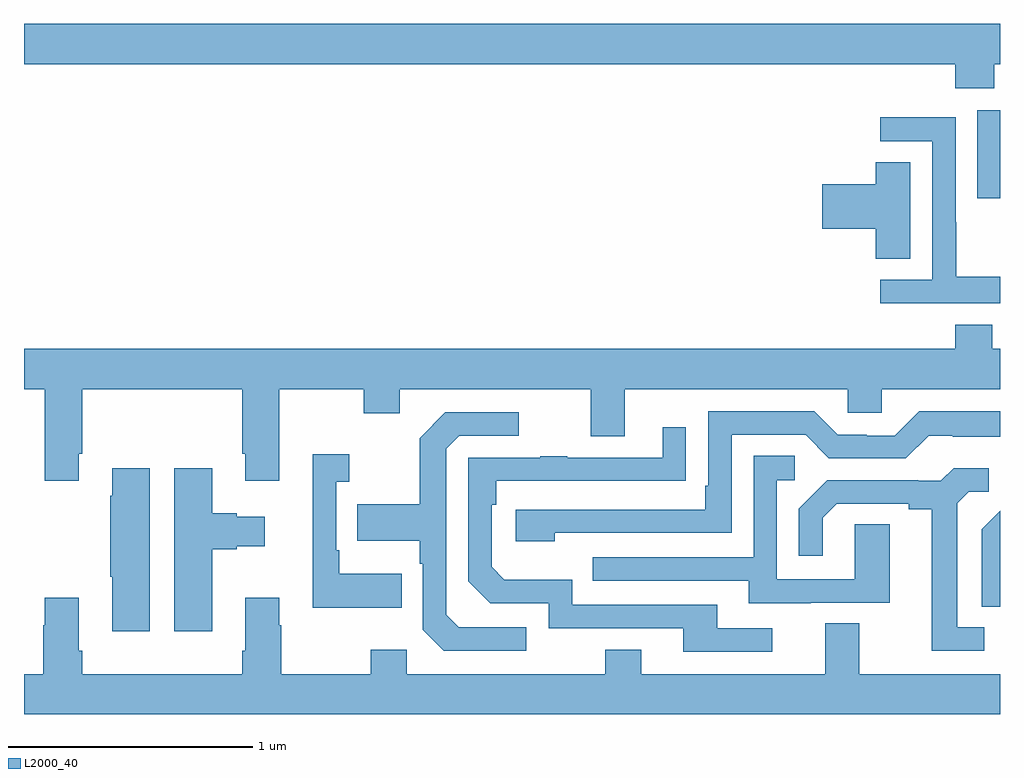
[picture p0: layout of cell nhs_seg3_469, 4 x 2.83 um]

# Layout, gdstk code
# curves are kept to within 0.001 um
import gdstk
lib = gdstk.Library(unit=1e-6, precision=1e-09)
def R(c, l, rs):  # rectangles x0, y0, x1, y1
    for r in rs: c.add(gdstk.rectangle(r[:2], r[2:], *l))
def P(c, l, *ps):  # polygons
    for p in ps: c.add(gdstk.Polygon(p, *l))
L2000_40 = (2000, 40)

nhs_seg3_469 = lib.new_cell('nhs_seg3_469')
R(nhs_seg3_469, L2000_40, [(136.907,746.985,137,747.346)])
P(nhs_seg3_469, L2000_40, [(136.977,747.536),(137,747.536),(137,747.7),(133,747.7),(133,747.536),(136.817,747.536),(136.817,747.437),(136.977,747.437)],
  [(137,746.665),(136.821,746.665),(136.821,746.888),(136.818,746.888),(136.818,747.318),(136.509,747.318),(136.509,747.219),(136.722,747.219),(136.722,746.652),(136.509,746.652),(136.509,746.556),(137,746.556)],
  [(136.633,747.134),(136.49,747.134),(136.49,747.044),(136.272,747.044),(136.272,746.861),(136.49,746.861),(136.49,746.737),(136.633,746.737)],
  [(133.225,745.939),(133.238,745.939),(133.238,746.204),(133.895,746.204),(133.895,745.939),(133.907,745.939),(133.907,745.827),(134.047,745.827),(134.047,746.204),(134.392,746.204),(134.392,746.105),(134.539,746.105),(134.539,746.204),(135.323,746.204),(135.323,746.01),(135.463,746.01),(135.463,746.204),(136.377,746.204),(136.377,746.106),(136.515,746.106),(136.515,746.204),(137,746.204),(137,746.368),(136.969,746.368),(136.969,746.467),(136.817,746.467),(136.817,746.368),(133,746.368),(133,746.204),(133.085,746.204),(133.085,745.827),(133.225,745.827)],
  [(135.176,745.614),(135.9,745.614),(135.9,746.016),(136.203,746.016),(136.299,745.92),(136.614,745.92),(136.707,746.013),(136.807,746.013),(136.807,746.009),(137,746.009),(137,746.113),(136.669,746.113),(136.569,746.013),(136.454,746.013),(136.454,746.016),(136.335,746.016),(136.239,746.112),(135.804,746.112),(135.804,745.807),(135.791,745.807),(135.791,745.71),(135.015,745.71),(135.015,745.58),(135.176,745.58)],
  [(135.058,745.227),(134.781,745.227),(134.73,745.278),(134.73,745.959),(134.784,746.013),(135.028,746.013),(135.028,746.109),(134.727,746.109),(134.622,746.003),(134.622,745.731),(134.365,745.731),(134.365,745.583),(134.622,745.583),(134.622,745.487),(134.634,745.487),(134.634,745.218),(134.721,745.131),(135.058,745.131)],
  [(136.066,745.224),(135.841,745.224),(135.841,745.32),(135.246,745.32),(135.246,745.423),(134.969,745.423),(134.916,745.476),(134.916,745.73),(134.936,745.73),(134.936,745.827),(135.713,745.828),(135.713,746.047),(135.617,746.047),(135.617,745.923),(135.227,745.923),(135.227,745.928),(135.115,745.928),(135.115,745.923),(134.82,745.923),(134.82,745.416),(134.91,745.326),(135.15,745.326),(135.15,745.224),(135.701,745.224),(135.701,745.128),(136.066,745.128)],
  [(134.549,745.447),(134.293,745.447),(134.293,745.543),(134.28,745.543),(134.28,745.823),(134.332,745.823),(134.332,745.936),(134.183,745.936),(134.183,745.307),(134.549,745.307)],
  [(136.225,745.329),(136.549,745.329),(136.549,745.649),(136.404,745.649),(136.404,745.425),(136.086,745.425),(136.086,745.83),(136.159,745.83),(136.159,745.931),(135.99,745.931),(135.99,745.515),(135.331,745.515),(135.331,745.419),(135.971,745.419),(135.971,745.325),(136.225,745.325)],
  [(133.771,745.547),(133.871,745.547),(133.871,745.559),(133.987,745.559),(133.987,745.681),(133.871,745.681),(133.871,745.694),(133.771,745.694),(133.771,745.879),(133.616,745.879),(133.616,745.212),(133.771,745.212)],
  [(133.516,745.879),(133.361,745.879),(133.361,745.766),(133.354,745.766),(133.354,745.435),(133.361,745.435),(133.361,745.212),(133.516,745.212)],
  [(136.936,745.227),(136.825,745.227),(136.825,745.735),(136.872,745.782),(136.954,745.782),(136.954,745.879),(136.81,745.879),(136.758,745.827),(136.664,745.827),(136.664,745.83),(136.292,745.83),(136.176,745.714),(136.176,745.521),(136.273,745.521),(136.273,745.677),(136.33,745.734),(136.625,745.734),(136.625,745.712),(136.721,745.712),(136.721,745.131),(136.936,745.131)],
  [(137,745.706),(136.998,745.704),(136.999,745.703),(136.926,745.63),(136.926,745.312),(137,745.312)],
  [(137,745.036),(136.423,745.036),(136.423,745.244),(136.283,745.244),(136.283,745.036),(135.529,745.036),(135.529,745.135),(135.382,745.135),(135.382,745.036),(134.568,745.036),(134.568,745.135),(134.422,745.135),(134.422,745.036),(134.055,745.036),(134.055,745.235),(134.047,745.235),(134.047,745.348),(133.907,745.348),(133.907,745.132),(133.895,745.132),(133.895,745.036),(133.238,745.036),(133.238,745.132),(133.225,745.132),(133.225,745.348),(133.085,745.348),(133.085,745.235),(133.078,745.235),(133.078,745.036),(133,745.036),(133,744.872),(137,744.872)])

lib.write_gds('nhs_seg3_469.gds')
